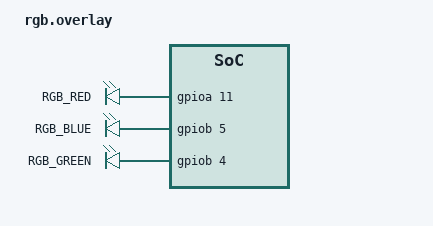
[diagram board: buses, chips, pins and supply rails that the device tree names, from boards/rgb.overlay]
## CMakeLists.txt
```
cmake_minimum_required(VERSION 3.28.0)

# Tell CMake to find Zephyr
find_package(Zephyr REQUIRED HINTS $ENV{ZEPHYR_BASE})
project(nucleo_l432kc_rgb_nanopb_app)

# Enable zephyr_nanopb_sources() support.
list(APPEND CMAKE_MODULE_PATH ${ZEPHYR_BASE}/modules/nanopb)
include(nanopb)

zephyr_nanopb_sources(app src/led_ctrl.proto)

# Add your source files
target_sources(app PRIVATE
    src/main.c
)
```

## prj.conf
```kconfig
# Enable GPIO driver (needed for LEDs/buttons)
CONFIG_GPIO=y
CONFIG_NANOPB=y

# (Optional) enable console + printk/printf over UART
CONFIG_SERIAL=y
CONFIG_CONSOLE=y
CONFIG_UART_CONSOLE=y
CONFIG_PRINTK=y
CONFIG_STDOUT_CONSOLE=y

# Interrupt-driven RX on the console UART, used to receive LedCommand frames
# sent by led-ctrl on the Raspberry Pi.
CONFIG_UART_INTERRUPT_DRIVEN=y
```

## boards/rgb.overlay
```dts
/* boards/rgb.overlay for nucleo_l432kc */

&gpioa {
    status = "okay";
};

&gpiob {
    status = "okay";
};

/ {
    leds {
        compatible = "gpio-leds";

        rgb_red_led: red_led {
            gpios = <&gpioa 11 GPIO_ACTIVE_HIGH>;  /* D10 */
            label = "RGB_RED";
        };

        rgb_blue_led: blue_led {
            gpios = <&gpiob 5 GPIO_ACTIVE_HIGH>;   /* D11 */
            label = "RGB_BLUE";
        };

        rgb_green_led: green_led {
            gpios = <&gpiob 4 GPIO_ACTIVE_HIGH>;   /* D12 */
            label = "RGB_GREEN";
        };
    };

    aliases {
        rgb-red = &rgb_red_led;
        rgb-blue = &rgb_blue_led;
        rgb-green = &rgb_green_led;
    };
};
```

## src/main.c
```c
/*
 * Receives nanopb-encoded LedCommand messages from a Raspberry Pi over the
 * console UART (usart2 / ST-LINK VCP, seen as /dev/ttyACMx on the host) and
 * drives the RGB LED accordingly.
 *
 * Wire format (matches led-ctrl on the Pi side): each message is a varint
 * (LEB128) byte length followed by that many bytes of LedCommand protobuf.
 */

#include <zephyr/kernel.h>
#include <zephyr/device.h>
#include <zephyr/drivers/gpio.h>
#include <zephyr/drivers/uart.h>
#include <zephyr/logging/log.h>

#include <pb_decode.h>

#include "src/led_ctrl.pb.h"

LOG_MODULE_REGISTER(main, LOG_LEVEL_INF);

#define RED_NODE   DT_ALIAS(rgb_red)
#define GREEN_NODE DT_ALIAS(rgb_green)
#define BLUE_NODE  DT_ALIAS(rgb_blue)

static const struct gpio_dt_spec red = GPIO_DT_SPEC_GET(RED_NODE, gpios);
static const struct gpio_dt_spec green = GPIO_DT_SPEC_GET(GREEN_NODE, gpios);
static const struct gpio_dt_spec blue = GPIO_DT_SPEC_GET(BLUE_NODE, gpios);

static const struct device *const cmd_uart = DEVICE_DT_GET(DT_CHOSEN(zephyr_console));

/* Bytes queued here by the UART ISR and consumed by the decode loop in main(). */
K_MSGQ_DEFINE(uart_rx_msgq, sizeof(uint8_t), 128, 1);

static void uart_rx_isr(const struct device *dev, void *user_data)
{
    ARG_UNUSED(user_data);

    while (uart_irq_update(dev) && uart_irq_is_pending(dev)) {
        uint8_t byte;

        if (!uart_irq_rx_ready(dev)) {
            continue;
        }

        while (uart_fifo_read(dev, &byte, 1) == 1) {
            /* Best effort: drop the byte if the queue is ever full. */
            (void)k_msgq_put(&uart_rx_msgq, &byte, K_NO_WAIT);
        }
    }
}

static void apply_led_command(const LedCommand *cmd)
{
    gpio_pin_set_dt(&red, cmd->red_on);
    gpio_pin_set_dt(&green, cmd->green_on);
    gpio_pin_set_dt(&blue, cmd->blue_on);

    LOG_INF("LedCommand applied: R=%d G=%d B=%d", cmd->red_on, cmd->green_on, cmd->blue_on);
}

/* Blocks reading one byte from the UART RX queue. */
static uint8_t recv_byte(void)
{
    uint8_t byte;

    k_msgq_get(&uart_rx_msgq, &byte, K_FOREVER);
    return byte;
}

/* Reads a LEB128 varint length prefix, one byte at a time, off the UART. */
static uint32_t recv_varint_len(void)
{
    uint32_t value = 0;
    uint32_t shift = 0;
    uint8_t byte;

    do {
        byte = recv_byte();
        value |= (uint32_t)(byte & 0x7f) << shift;
        shift += 7;
    } while ((byte & 0x80) && shift < 32);

    return value;
}

/* Reads one framed LedCommand message and applies it. Resyncs on bad frames. */
static void recv_and_apply_command(void)
{
    uint8_t payload[LedCommand_size];
    uint32_t msg_len = recv_varint_len();

    if (msg_len == 0 || msg_len > sizeof(payload)) {
        LOG_WRN("Dropping frame with bad length %u", msg_len);
        return;
    }

    for (uint32_t i = 0; i < msg_len; i++) {
        payload[i] = recv_byte();
    }

    LedCommand cmd = LedCommand_init_zero;
    pb_istream_t stream = pb_istream_from_buffer(payload, msg_len);

    if (pb_decode(&stream, LedCommand_fields, &cmd)) {
        apply_led_command(&cmd);
    } else {
        LOG_ERR("nanopb decode failed: %s", PB_GET_ERROR(&stream));
    }
}

int main(void)
{
    if (!gpio_is_ready_dt(&red) || !gpio_is_ready_dt(&green) || !gpio_is_ready_dt(&blue)) {
        LOG_ERR("One or more RGB GPIO devices are not ready");
        return -ENODEV;
    }

    gpio_pin_configure_dt(&red, GPIO_OUTPUT_INACTIVE);
    gpio_pin_configure_dt(&green, GPIO_OUTPUT_INACTIVE);
    gpio_pin_configure_dt(&blue, GPIO_OUTPUT_INACTIVE);

    if (!device_is_ready(cmd_uart)) {
        LOG_ERR("Command UART device is not ready");
        return -ENODEV;
    }

    uart_irq_callback_user_data_set(cmd_uart, uart_rx_isr, NULL);
    uart_irq_rx_enable(cmd_uart);

    LOG_INF("Waiting for LedCommand frames...");

    while (1) {
        recv_and_apply_command();
    }
}
```
